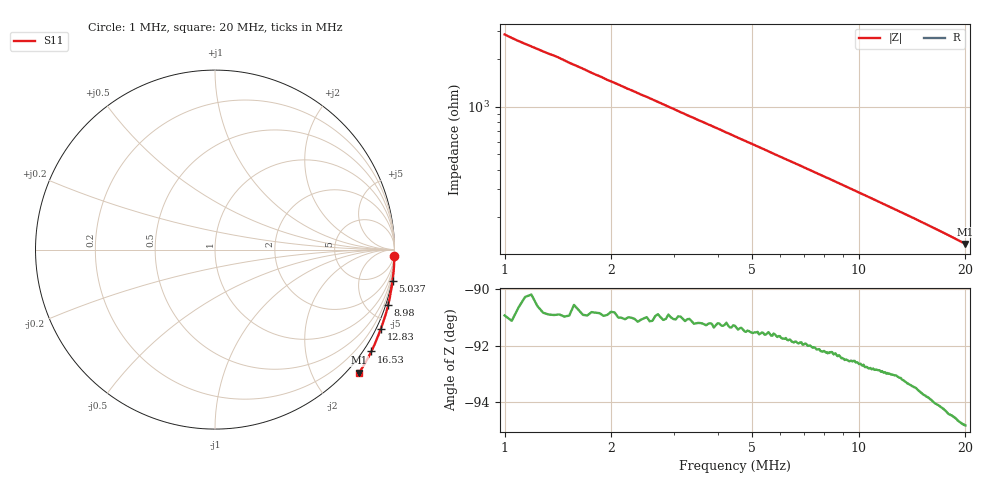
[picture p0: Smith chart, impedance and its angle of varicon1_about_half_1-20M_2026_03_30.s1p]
# HZ S RI R 50
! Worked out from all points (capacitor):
!   401 points, 1 MHz to 20 MHz, reference 50 ohm
!   read as one part to ground: C = 55 pF near 1.095 MHz
!   lowest |Z| = 135 ohm at 20 MHz (marker M1)
!   S11 on the Smith chart (normalised r, x): 1 MHz: -1, -57; 5.037 MHz: -0, -12; 8.98 MHz: -0.27, -6.41; 12.83 MHz: -0.24, -4.41; 16.53 MHz: -0.24, -3.35; 20 MHz: -0.23, -2.70
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1000000  1 -0.0348
1095000  0.9997 -0.0383
1380000  0.9996 -0.0474
1902500  0.9989 -0.0657
2472500  0.9979 -0.085
3375000  0.9956 -0.116
3802500  0.9942 -0.1304
5037500  0.9897 -0.1729
5750000  0.9858 -0.1975
6652500  0.9812 -0.228
7555000  0.9756 -0.2593
8125000  0.9716 -0.2787
8980000  0.965 -0.3083
9360000  0.962 -0.3212
1.05e7  0.9511 -0.3608
1.0975e7  0.946 -0.3769
1.164e7  0.9384 -0.4
1.28275e7  0.9239 -0.4403
1.2875e7  0.9234 -0.442
1.392e7  0.9102 -0.4775
1.525e7  0.8914 -0.5233
1.65325e7  0.8711 -0.5673
1.7625e7  0.8518 -0.6049
1.80525e7  0.8441 -0.6194
1.91925e7  0.8212 -0.6585
1.95725e7  0.8133 -0.6712
1.9905e7  0.8058 -0.6825
2e7  0.8035 -0.6857
